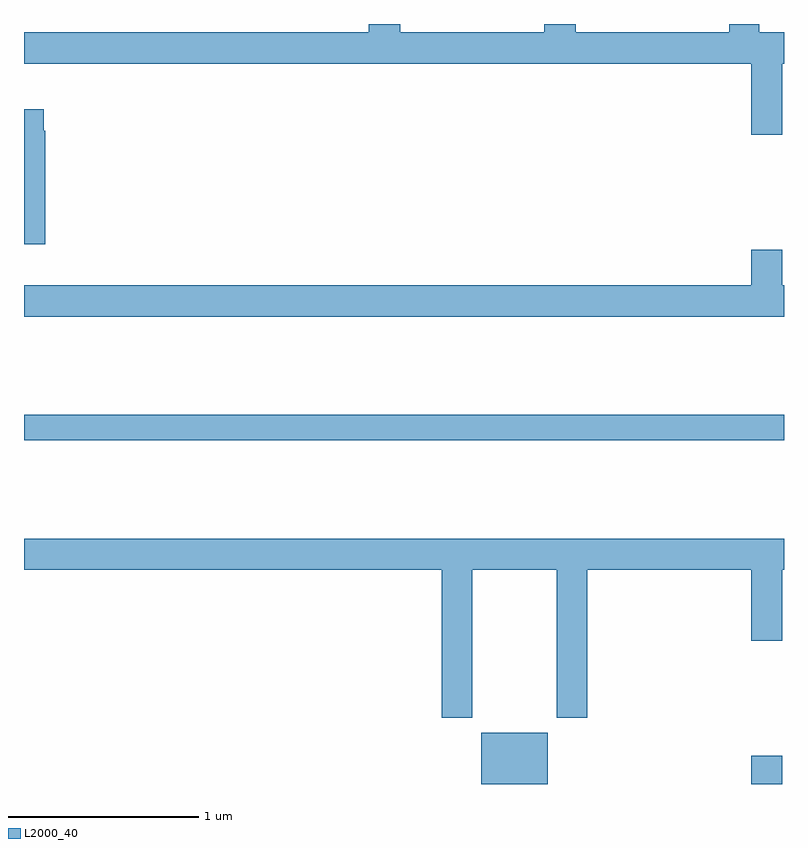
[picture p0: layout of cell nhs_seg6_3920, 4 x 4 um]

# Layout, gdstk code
import gdstk
lib = gdstk.Library(unit=1e-6, precision=1e-09)
def R(c, l, rs):  # rectangles x0, y0, x1, y1
    for r in rs: c.add(gdstk.rectangle(r[:2], r[2:], *l))
def P(c, l, *ps):  # polygons
    for p in ps: c.add(gdstk.Polygon(p, *l))
L2000_40 = (2000, 40)

nhs_seg6_3920 = lib.new_cell('nhs_seg6_3920')
R(nhs_seg6_3920, L2000_40, [(343.406,987.5,343.756,987.769), (344.828,987.5,344.992,987.649), (341,989.308,345,989.444)])
P(nhs_seg6_3920, L2000_40, [(344.992,991.292),(345,991.292),(345,991.456),(344.871,991.456),(344.871,991.5),(344.711,991.5),(344.711,991.456),(343.904,991.456),(343.904,991.5),(343.739,991.5),(343.739,991.456),(342.98,991.456),(342.98,991.5),(342.815,991.5),(342.815,991.456),(341,991.456),(341,991.292),(344.828,991.292),(344.828,990.918),(344.992,990.918)],
  [(341.111,990.938),(341.104,990.938),(341.104,991.051),(341,991.051),(341,990.341),(341.111,990.341)],
  [(345,990.124),(344.992,990.124),(344.992,990.313),(344.828,990.313),(344.828,990.124),(341,990.124),(341,989.96),(345,989.96)],
  [(343.359,988.628),(343.804,988.628),(343.804,987.849),(343.964,987.849),(343.964,988.628),(344.828,988.628),(344.828,988.254),(344.992,988.254),(344.992,988.628),(345,988.628),(345,988.792),(341,988.792),(341,988.628),(343.199,988.628),(343.199,987.849),(343.359,987.849)])

lib.write_gds('nhs_seg6_3920.gds')
